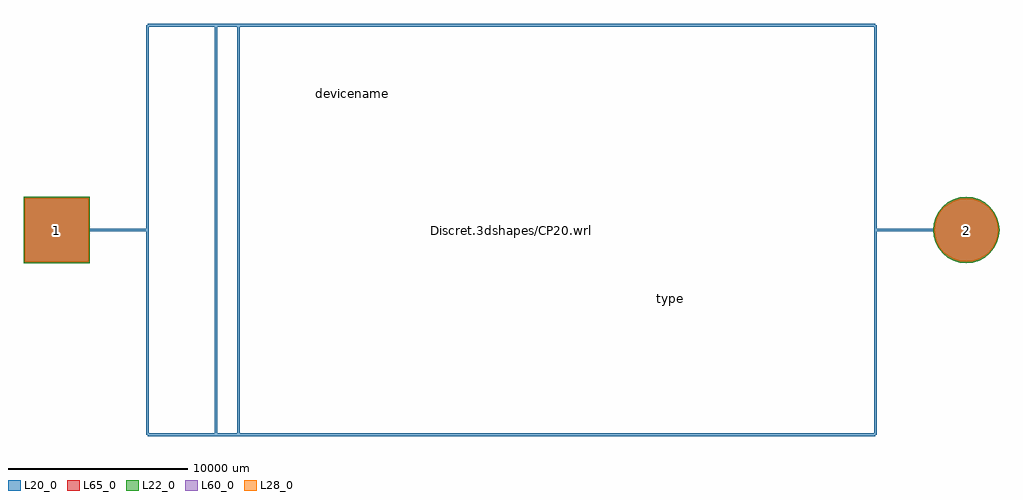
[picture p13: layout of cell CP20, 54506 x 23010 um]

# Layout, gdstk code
import gdstk
lib = gdstk.Library(unit=1e-6, precision=1e-09)
def R(c, l, rs):  # rectangles x0, y0, x1, y1
    for r in rs: c.add(gdstk.rectangle(r[:2], r[2:], *l))
def P(c, l, *ps):  # polygons
    for p in ps: c.add(gdstk.Polygon(p, *l))
L20_0 = (20, 0)
L22_0 = (22, 0)
L28_0 = (28, 0)
L60_0 = (60, 0)
L65_0 = (65, 0)

cp20 = lib.new_cell('CP20')
R(cp20, L22_0, [(-27253,-1853,-23547,1853)])
P(cp20, L22_0, [(27253,0),(27217.395,361.502),(27111.949,709.112),(26940.713,1029.472),(26710.269,1310.269),(26429.472,1540.713),(26109.112,1711.949),(25761.502,1817.395),(25400,1853),(25038.498,1817.395),(24690.888,1711.949),(24370.528,1540.713),(24089.731,1310.269),(23859.287,1029.472),(23688.051,709.112),(23582.605,361.502),(23547,0),(23582.605,-361.502),(23688.051,-709.112),(23859.287,-1029.472),(24089.731,-1310.269),(24370.528,-1540.713),(24690.888,-1711.949),(25038.498,-1817.395),(25400,-1853),(25761.502,-1817.395),(26109.112,-1711.949),(26429.472,-1540.713),(26710.269,-1310.269),(26940.713,-1029.472),(27111.949,-709.112),(27217.395,-361.502)])
R(cp20, L28_0, [(-27178,-1778,-23622,1778)])
P(cp20, L28_0, [(27178,0),(27143.836,346.871),(27042.658,680.411),(26878.353,987.804),(26657.236,1257.236),(26387.804,1478.353),(26080.411,1642.658),(25746.871,1743.836),(25400,1778),(25053.129,1743.836),(24719.589,1642.658),(24412.196,1478.353),(24142.764,1257.236),(23921.647,987.804),(23757.342,680.411),(23656.164,346.871),(23622,0),(23656.164,-346.871),(23757.342,-680.411),(23921.647,-987.804),(24142.764,-1257.236),(24412.196,-1478.353),(24719.589,-1642.658),(25053.129,-1743.836),(25400,-1778),(25746.871,-1743.836),(26080.411,-1642.658),(26387.804,-1478.353),(26657.236,-1257.236),(26878.353,-987.804),(27042.658,-680.411),(27143.836,-346.871)])
R(cp20, L60_0, [(-27178,-1778,-23622,1778)])
P(cp20, L60_0, [(27178,0),(27143.836,346.871),(27042.658,680.411),(26878.353,987.804),(26657.236,1257.236),(26387.804,1478.353),(26080.411,1642.658),(25746.871,1743.836),(25400,1778),(25053.129,1743.836),(24719.589,1642.658),(24412.196,1478.353),(24142.764,1257.236),(23921.647,987.804),(23757.342,680.411),(23656.164,346.871),(23622,0),(23656.164,-346.871),(23757.342,-680.411),(23921.647,-987.804),(24142.764,-1257.236),(24412.196,-1478.353),(24719.589,-1642.658),(25053.129,-1743.836),(25400,-1778),(25746.871,-1743.836),(26080.411,-1642.658),(26387.804,-1478.353),(26657.236,-1257.236),(26878.353,-987.804),(27042.658,-680.411),(27143.836,-346.871)])
R(cp20, L65_0, [(-27253,-1853,-23547,1853)])
P(cp20, L65_0, [(27253,0),(27217.395,361.502),(27111.949,709.112),(26940.713,1029.472),(26710.269,1310.269),(26429.472,1540.713),(26109.112,1711.949),(25761.502,1817.395),(25400,1853),(25038.498,1817.395),(24690.888,1711.949),(24370.528,1540.713),(24089.731,1310.269),(23859.287,1029.472),(23688.051,709.112),(23582.605,361.502),(23547,0),(23582.605,-361.502),(23688.051,-709.112),(23859.287,-1029.472),(24089.731,-1310.269),(24370.528,-1540.713),(24690.888,-1711.949),(25038.498,-1817.395),(25400,-1853),(25761.502,-1817.395),(26109.112,-1711.949),(26429.472,-1540.713),(26710.269,-1310.269),(26940.713,-1029.472),(27111.949,-709.112),(27217.395,-361.502)])
cp20.add(gdstk.FlexPath([(-15240,-11430),(-15240,11430)], 149.998, ends="flush", simple_path=True, layer=20, datatype=0))  # L20_0
cp20.add(gdstk.FlexPath([(-16510,11430),(-16510,-11430)], 149.998, ends="flush", simple_path=True, layer=20, datatype=0))  # L20_0
cp20.add(gdstk.FlexPath([(20320,-11430),(20320,0)], 149.998, ends="flush", simple_path=True, layer=20, datatype=0))  # L20_0
cp20.add(gdstk.FlexPath([(-20320,-11430),(20320,-11430)], 149.998, ends="flush", simple_path=True, layer=20, datatype=0))  # L20_0
cp20.add(gdstk.FlexPath([(-20320,11430),(-20320,-11430)], 149.998, ends="flush", simple_path=True, layer=20, datatype=0))  # L20_0
cp20.add(gdstk.FlexPath([(20320,11430),(-20320,11430)], 149.998, ends="flush", simple_path=True, layer=20, datatype=0))  # L20_0
cp20.add(gdstk.FlexPath([(20320,0),(20320,11430)], 149.998, ends="flush", simple_path=True, layer=20, datatype=0))  # L20_0
cp20.add(gdstk.FlexPath([(25400,0),(20320,0)], 149.998, ends="flush", simple_path=True, layer=20, datatype=0))  # L20_0
cp20.add(gdstk.FlexPath([(-25400,0),(-20320,0)], 149.998, ends="flush", simple_path=True, layer=20, datatype=0))  # L20_0
cp20.add(gdstk.Label('Discret.3dshapes/CP20.wrl', (0,0), layer=12, texttype=0))
cp20.add(gdstk.Label('2', (25400,0), layer=28, texttype=0))
cp20.add(gdstk.Label('1', (-25400,0), layer=28, texttype=0))
cp20.add(gdstk.Label('type', (8890,-3810), layer=9, texttype=0))
cp20.add(gdstk.Label('devicename', (-8890,7620), layer=9, texttype=0))

lib.write_gds('CP20.gds')
